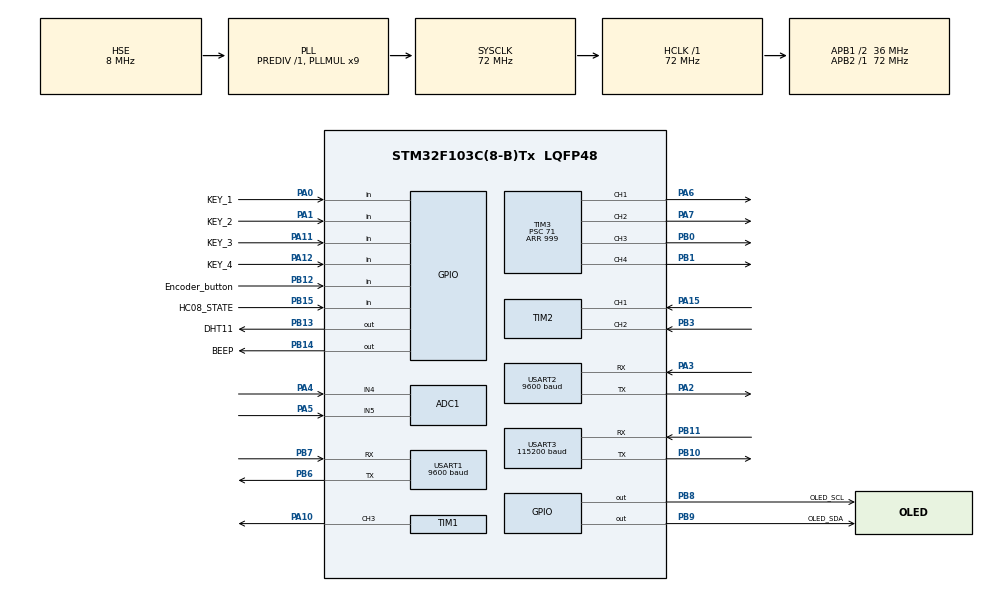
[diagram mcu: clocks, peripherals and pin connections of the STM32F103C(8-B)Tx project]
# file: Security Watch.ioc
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ADC1.Channel-0\#ChannelRegularConversion=ADC_CHANNEL_4
ADC1.EnableAnalogWatchDog=false
ADC1.NbrOfConversionFlag=1
ADC1.Rank-0\#ChannelRegularConversion=1
ADC1.SamplingTime-0\#ChannelRegularConversion=ADC_SAMPLETIME_1CYCLE_5
ADC1.master=1
Dma.Request0=TIM1_CH3
Dma.Request1=USART1_RX
Dma.Request2=USART3_RX
Dma.TIM1_CH3.0.Direction=DMA_MEMORY_TO_PERIPH
Dma.TIM1_CH3.0.Instance=DMA1_Channel6
Dma.TIM1_CH3.0.MemDataAlignment=DMA_MDATAALIGN_HALFWORD
Dma.TIM1_CH3.0.MemInc=DMA_MINC_ENABLE
Dma.TIM1_CH3.0.Mode=DMA_NORMAL
Dma.TIM1_CH3.0.PeriphDataAlignment=DMA_PDATAALIGN_HALFWORD
Dma.TIM1_CH3.0.PeriphInc=DMA_PINC_DISABLE
Dma.TIM1_CH3.0.Priority=DMA_PRIORITY_HIGH
Dma.USART1_RX.1.Direction=DMA_PERIPH_TO_MEMORY
Dma.USART1_RX.1.Instance=DMA1_Channel5
Dma.USART1_RX.1.MemDataAlignment=DMA_MDATAALIGN_BYTE
Dma.USART1_RX.1.MemInc=DMA_MINC_ENABLE
Dma.USART1_RX.1.Mode=DMA_CIRCULAR
Dma.USART1_RX.1.PeriphDataAlignment=DMA_PDATAALIGN_BYTE
Dma.USART1_RX.1.PeriphInc=DMA_PINC_DISABLE
Dma.USART1_RX.1.Priority=DMA_PRIORITY_MEDIUM
Dma.USART3_RX.2.Direction=DMA_PERIPH_TO_MEMORY
Dma.USART3_RX.2.Instance=DMA1_Channel3
Dma.USART3_RX.2.MemDataAlignment=DMA_MDATAALIGN_BYTE
Dma.USART3_RX.2.MemInc=DMA_MINC_ENABLE
Dma.USART3_RX.2.Mode=DMA_CIRCULAR
Dma.USART3_RX.2.PeriphDataAlignment=DMA_PDATAALIGN_BYTE
Dma.USART3_RX.2.PeriphInc=DMA_PINC_DISABLE
Dma.USART3_RX.2.Priority=DMA_PRIORITY_MEDIUM
FREERTOS.configTIMER_TASK_STACK_DEPTH=64
FREERTOS.configTOTAL_HEAP_SIZE=8192
Mcu.Family=STM32F1
Mcu.Name=STM32F103C(8-B)Tx
Mcu.Package=LQFP48
NVIC.DMA1_Channel3_IRQn=true\:5\:0\:false\:false\:true\:true\:false\:true\:true
NVIC.DMA1_Channel5_IRQn=true\:5\:0\:false\:false\:true\:true\:false\:true\:true
NVIC.DMA1_Channel6_IRQn=true\:5\:0\:false\:false\:true\:true\:false\:true\:true
NVIC.PriorityGroup=NVIC_PRIORITYGROUP_4
NVIC.USART1_IRQn=true\:5\:0\:false\:false\:true\:true\:false\:true\:true
NVIC.USART2_IRQn=true\:5\:0\:false\:false\:true\:true\:false\:true\:true
NVIC.USART3_IRQn=true\:5\:0\:false\:false\:true\:true\:false\:true\:true
PA0-WKUP.GPIO_Label=KEY_1
PA0-WKUP.GPIO_PuPd=GPIO_PULLUP
PA0-WKUP.Signal=GPIO_Input
PA1.GPIO_Label=KEY_2
PA1.GPIO_PuPd=GPIO_PULLUP
PA1.Signal=GPIO_Input
PA10.GPIO_Speed=GPIO_SPEED_FREQ_HIGH
PA10.Signal=S_TIM1_CH3
PA11.GPIO_Label=KEY_3
PA11.GPIO_PuPd=GPIO_PULLUP
PA11.Signal=GPIO_Input
PA12.GPIO_Label=KEY_4
PA12.GPIO_PuPd=GPIO_PULLUP
PA12.Signal=GPIO_Input
PA13.Mode=Serial_Wire
PA13.Signal=SYS_JTMS-SWDIO
PA14.Mode=Serial_Wire
PA14.Signal=SYS_JTCK-SWCLK
PA15.Signal=S_TIM2_CH1_ETR
PA2.Mode=Asynchronous
PA2.Signal=USART2_TX
PA3.Mode=Asynchronous
PA3.Signal=USART2_RX
PA4.Signal=ADCx_IN4
PA5.Signal=ADCx_IN5
PA6.Signal=S_TIM3_CH1
PA7.Signal=S_TIM3_CH2
PB0.Signal=S_TIM3_CH3
PB1.Signal=S_TIM3_CH4
PB10.Mode=Asynchronous
PB10.Signal=USART3_TX
PB11.Mode=Asynchronous
PB11.Signal=USART3_RX
PB12.GPIO_Label=Encoder_button
PB12.GPIO_PuPd=GPIO_PULLUP
PB12.Signal=GPIO_Input
PB13.GPIO_Label=DHT11
PB13.GPIO_ModeDefaultOutputPP=GPIO_MODE_OUTPUT_OD
PB13.GPIO_PuPd=GPIO_NOPULL
PB13.GPIO_Speed=GPIO_SPEED_FREQ_HIGH
PB13.PinState=GPIO_PIN_RESET
PB13.Signal=GPIO_Output
PB14.GPIO_Label=BEEP
PB14.GPIO_PuPd=GPIO_PULLUP
PB14.PinState=GPIO_PIN_SET
PB14.Signal=GPIO_Output
PB15.GPIO_Label=HC08_STATE
PB15.GPIO_PuPd=GPIO_PULLDOWN
PB15.Signal=GPIO_Input
PB3.Signal=S_TIM2_CH2
PB6.Mode=Asynchronous
PB6.Signal=USART1_TX
PB7.Mode=Asynchronous
PB7.Signal=USART1_RX
PB8.GPIO_Label=OLED_SCL
PB8.GPIO_ModeDefaultOutputPP=GPIO_MODE_OUTPUT_OD
PB8.GPIO_PuPd=GPIO_PULLUP
PB8.GPIO_Speed=GPIO_SPEED_FREQ_HIGH
PB8.PinState=GPIO_PIN_RESET
PB8.Signal=GPIO_Output
PB9.GPIO_Label=OLED_SDA
PB9.GPIO_ModeDefaultOutputPP=GPIO_MODE_OUTPUT_OD
PB9.GPIO_PuPd=GPIO_PULLUP
PB9.GPIO_Speed=GPIO_SPEED_FREQ_HIGH
PB9.PinState=GPIO_PIN_RESET
PB9.Signal=GPIO_Output
PC14-OSC32_IN.Mode=LSE-External-Oscillator
PC14-OSC32_IN.Signal=RCC_OSC32_IN
PC15-OSC32_OUT.Mode=LSE-External-Oscillator
PC15-OSC32_OUT.Signal=RCC_OSC32_OUT
PD0-OSC_IN.Mode=HSE-External-Oscillator
PD0-OSC_IN.Signal=RCC_OSC_IN
PD1-OSC_OUT.Mode=HSE-External-Oscillator
PD1-OSC_OUT.Signal=RCC_OSC_OUT
ProjectManager.HeapSize=0x0
ProjectManager.StackSize=0x400
ProjectManager.TargetToolchain=MDK-ARM V5.32
RCC.ADCPresc=RCC_ADCPCLK2_DIV6
RCC.AHBFreq_Value=72000000
RCC.APB1CLKDivider=RCC_HCLK_DIV2
RCC.APB1Freq_Value=36000000
RCC.APB1TimFreq_Value=72000000
RCC.APB2Freq_Value=72000000
RCC.APB2TimFreq_Value=72000000
RCC.HCLKFreq_Value=72000000
RCC.PLLMUL=RCC_PLL_MUL9
RCC.PLLSourceVirtual=RCC_PLLSOURCE_HSE
RCC.RTCClockSelection=RCC_RTCCLKSOURCE_LSE
RCC.SYSCLKFreq_VALUE=72000000
RCC.SYSCLKSource=RCC_SYSCLKSOURCE_PLLCLK
RCC.USBFreq_Value=72000000
SH.ADCx_IN4.0=ADC1_IN4,IN4
SH.ADCx_IN5.0=ADC1_IN5,IN5
SH.S_TIM1_CH3.0=TIM1_CH3,PWM Generation3 CH3
SH.S_TIM2_CH1_ETR.0=TIM2_CH1,Encoder_Interface
SH.S_TIM2_CH2.0=TIM2_CH2,Encoder_Interface
SH.S_TIM3_CH1.0=TIM3_CH1,PWM Generation1 CH1
SH.S_TIM3_CH2.0=TIM3_CH2,PWM Generation2 CH2
SH.S_TIM3_CH3.0=TIM3_CH3,PWM Generation3 CH3
SH.S_TIM3_CH4.0=TIM3_CH4,PWM Generation4 CH4
TIM1.AutoReloadPreload=TIM_AUTORELOAD_PRELOAD_ENABLE
TIM1.Channel-PWM\ Generation3\ CH3=TIM_CHANNEL_3
TIM1.Prescaler=89
TIM2.AutoReloadPreload=TIM_AUTORELOAD_PRELOAD_ENABLE
TIM2.IC1Filter=12
TIM3.AutoReloadPreload=TIM_AUTORELOAD_PRELOAD_ENABLE
TIM3.Channel-PWM\ Generation1\ CH1=TIM_CHANNEL_1
TIM3.Channel-PWM\ Generation2\ CH2=TIM_CHANNEL_2
TIM3.Channel-PWM\ Generation3\ CH3=TIM_CHANNEL_3
TIM3.Channel-PWM\ Generation4\ CH4=TIM_CHANNEL_4
TIM3.Period=999
TIM3.Prescaler=71
USART1.BaudRate=9600
USART1.VirtualMode=VM_ASYNC
USART2.BaudRate=9600
USART2.VirtualMode=VM_ASYNC
USART3.BaudRate=115200
USART3.VirtualMode=VM_ASYNC
VP_FREERTOS_VS_CMSIS_V2.Mode=CMSIS_V2
VP_RTC_VS_RTC_Activate.Mode=RTC_Enabled
VP_RTC_VS_RTC_Calendar.Mode=RTC_Calendar
board=custom

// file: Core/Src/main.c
/* USER CODE BEGIN Header */
/**
  ******************************************************************************
  * @file           : main.c
  * @brief          : Main program body
  ******************************************************************************
  * @attention
  *
  * Copyright (c) 2025 STMicroelectronics.
  * All rights reserved.
  *
  * This software is licensed under terms that can be found in the LICENSE file
  * in the root directory of this software component.
  * If no LICENSE file comes with this software, it is provided AS-IS.
  *
  ******************************************************************************
  */
/* USER CODE END Header */
#include "main.h"
#include "diy_imu.h"      /* USART3: DIY IMU(节点A) 数据链 */
#include "cmsis_os.h"
#include "adc.h"
#include "dma.h"
#include "rtc.h"
#include "tim.h"
#include "gpio.h"
#include "usart.h"

/* USER CODE BEGIN Includes */
#include "OLED.h"
#include "delay.h"
#include "gps.h"
#include "hc08.h"

/* USER CODE END Includes */

void SystemClock_Config(void);
void MX_FREERTOS_Init(void);

/* USER CODE BEGIN 0 */
RTC_DateTypeDef sDate;
RTC_TimeTypeDef sTime;
/* USER CODE END 0 */

int main(void)
{

  /* MCU Configuration--------------------------------------------------------*/

  /* Reset of all peripherals, Initializes the Flash interface and the Systick. */
  HAL_Init();

  /* Configure the system clock */
  SystemClock_Config();

  /* Initialize all configured peripherals */
  MX_GPIO_Init();
  MX_DMA_Init();
  MX_TIM2_Init();
  MX_RTC_Init();
  MX_TIM3_Init();
  MX_ADC1_Init();
  MX_TIM1_Init();
  MX_USART1_UART_Init();
  MX_USART2_UART_Init();
  MX_USART3_UART_Init();
  /* USER CODE BEGIN 2 */
	// 检查备份寄存器 DR1 的值是否为 0x32F2
	if (HAL_RTCEx_BKUPRead(&hrtc, RTC_BKP_DR1) != 0x32F2)
	{
	  // 1. 设置日期 (例如：2026年3月6日，星期五)
	  sDate.Year = 26;
	  sDate.Month = RTC_MONTH_MARCH;
	  sDate.Date = 6;
	  sDate.WeekDay = RTC_WEEKDAY_FRIDAY;
	  HAL_RTC_SetDate(&hrtc, &sDate, RTC_FORMAT_BIN);

	  // 2. 设置时间 (例如：14点30分00秒)
	  sTime.Hours = 14;
	  sTime.Minutes = 30;
	  sTime.Seconds = 0;
	  HAL_RTC_SetTime(&hrtc, &sTime, RTC_FORMAT_BIN);

	  // 3. 将 0x32F2 写入备份寄存器，下次重启就不会再重置时间了
	  HAL_RTCEx_BKUPWrite(&hrtc, RTC_BKP_DR1, 0x32F2);
	}
  /* USER CODE END 2 */

  /* Init scheduler */
  osKernelInitialize();  /* Call init function for freertos objects (in cmsis_os2.c) */
  MX_FREERTOS_Init();

  /* Start scheduler */
  osKernelStart();

  /* We should never get here as control is now taken by the scheduler */

  /* Infinite loop */
  while (1)
  {

  }
}

void SystemClock_Config(void)
{
  RCC_OscInitTypeDef RCC_OscInitStruct = {0};
  RCC_ClkInitTypeDef RCC_ClkInitStruct = {0};
  RCC_PeriphCLKInitTypeDef PeriphClkInit = {0};

  /** Initializes the RCC Oscillators according to the specified parameters
  * in the RCC_OscInitTypeDef structure.
  */
  RCC_OscInitStruct.OscillatorType = RCC_OSCILLATORTYPE_HSE|RCC_OSCILLATORTYPE_LSE;
  RCC_OscInitStruct.HSEState = RCC_HSE_ON;
  RCC_OscInitStruct.HSEPredivValue = RCC_HSE_PREDIV_DIV1;
  RCC_OscInitStruct.LSEState = RCC_LSE_ON;
  RCC_OscInitStruct.HSIState = RCC_HSI_ON;
  RCC_OscInitStruct.PLL.PLLState = RCC_PLL_ON;
  RCC_OscInitStruct.PLL.PLLSource = RCC_PLLSOURCE_HSE;
  RCC_OscInitStruct.PLL.PLLMUL = RCC_PLL_MUL9;
  if (HAL_RCC_OscConfig(&RCC_OscInitStruct) != HAL_OK)
  {
    Error_Handler();
  }

  /** Initializes the CPU, AHB and APB buses clocks
  */
  RCC_ClkInitStruct.ClockType = RCC_CLOCKTYPE_HCLK|RCC_CLOCKTYPE_SYSCLK
                              |RCC_CLOCKTYPE_PCLK1|RCC_CLOCKTYPE_PCLK2;
  RCC_ClkInitStruct.SYSCLKSource = RCC_SYSCLKSOURCE_PLLCLK;
  RCC_ClkInitStruct.AHBCLKDivider = RCC_SYSCLK_DIV1;
  RCC_ClkInitStruct.APB1CLKDivider = RCC_HCLK_DIV2;
  RCC_ClkInitStruct.APB2CLKDivider = RCC_HCLK_DIV1;

  if (HAL_RCC_ClockConfig(&RCC_ClkInitStruct, FLASH_LATENCY_2) != HAL_OK)
  {
    Error_Handler();
  }
  PeriphClkInit.PeriphClockSelection = RCC_PERIPHCLK_RTC|RCC_PERIPHCLK_ADC;
  PeriphClkInit.RTCClockSelection = RCC_RTCCLKSOURCE_LSE;
  PeriphClkInit.AdcClockSelection = RCC_ADCPCLK2_DIV6;
  if (HAL_RCCEx_PeriphCLKConfig(&PeriphClkInit) != HAL_OK)
  {
    Error_Handler();
  }
}

/* USER CODE BEGIN 4 */

/* 串口接收事件转发：GPS 驱动靠它拿到 NMEA 数据（其它串口会被驱动内部过滤掉） */
void HAL_UARTEx_RxEventCallback(UART_HandleTypeDef *huart, uint16_t Size)
{
  /* USART3: 节点A (DIY IMU 板) 的 32 字节数据帧 */
  if (huart->Instance == USART3)
  {
    DIY_IMU_RxEventCallback(huart, Size);
    return;
  }

  /* USART1: GNSS 的 NMEA 语句流 */
  /* USART2: HC-08 ����͸�����ֻ��·������� / ģ��� AT Ӧ�� */
  if (huart->Instance == USART2)
  {
    HC08_RxEventCallback(huart, Size);
    return;
  }

  /* USART1: GNSS �� NMEA ����� */
  GPS_RxEventCallback(huart, Size);
}

/* USER CODE END 4 */

void Error_Handler(void)
{
  __disable_irq();
  while (1)
  {
  }
}

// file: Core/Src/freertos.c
/* USER CODE BEGIN Header */
#include "OLED.h"
/**
  ******************************************************************************
  * File Name          : freertos.c
  * Description        : Code for freertos applications
  ******************************************************************************
  * 本文件只负责：
  *   1) 集中定义各任务的优先级与栈大小
  *   2) 在 MX_FREERTOS_Init() 里调用各任务的 xxx_Task_Init()
  *
  * 任务的具体实现与创建都在 icode\task\ 下，本文件不写任何任务逻辑。
  ******************************************************************************
  */
/* USER CODE END Header */

#include "FreeRTOS.h"
#include "task.h"
#include "main.h"
#include "cmsis_os.h"

/* USER CODE BEGIN Includes */
#include "imu_recv_task.h"
#include "tinyml_task.h"
#include "fatigue_task.h"
#include "alarm_task.h"
#include "ble_task.h"
#include "oled_task.h"
#include "gps_task.h"
#include "menu_task.h"
/* USER CODE END Includes */

/* USER CODE BEGIN PD */
/* ===========================================================================
 *                        任务优先级与栈大小（集中配置）
 *
 * 优先级取 osPriority_t 枚举，数值越大优先级越高：
 *   osPriorityLow=8   osPriorityBelowNormal=16  osPriorityNormal=24
 *   osPriorityAboveNormal=32   osPriorityHigh=40   osPriorityRealtime=48
 *
 * 当前分配理由：
 *   IMU_Recv  AboveNormal  数据先落地，优先级低了会丢帧
 *   Alarm     AboveNormal  取消按键必须响应及时，晚了就误报
 *   TinyML    Normal       推理耗时可控，单次目标 <20ms
 *   BLE       Normal       上报允许有几十毫秒延迟
 *   GPS       BelowNormal  1 Hz NMEA 流，20 ms 排空一次缓冲即可，不急
 *   Fatigue   BelowNormal  1~2Hz 低频任务，不急
 *   OLED      Low          软件I2C刷屏最慢，绝不能抢 CPU
 * ========================================================================= */
#define IMU_RECV_TASK_PRIO      osPriorityAboveNormal
#define ALARM_TASK_PRIO         osPriorityAboveNormal
#define TINYML_TASK_PRIO        osPriorityNormal
#define BLE_TASK_PRIO           osPriorityNormal
#define GPS_TASK_PRIO           osPriorityBelowNormal
#define FATIGUE_TASK_PRIO       osPriorityBelowNormal
#define OLED_TASK_PRIO          osPriorityLow

/* 栈深度，单位 word（1 word = 4 字节）
   实测经验：纯逻辑任务 256 word 够用；OLED 刷屏缓冲大，给 512 word。
   改大栈要同步调大 FreeRTOSConfig.h 的 configTOTAL_HEAP_SIZE。

   TINYML 给 384 word（1536 字节）而非 256，原因：TinyML 任务调用链里
   ML_ExtractFeatures 的两遍扫描局部变量 + 29 维特征数组(116B) + int8 输入
   输出缓冲，合计约 500 字节；256 word 虽勉强够，但余量太小，一旦以后加了
   队列接收或浮点打印就会溢出，而栈溢出在 FreeRTOS 上表现为莫名其妙的
   硬件错误，极难排查。多这 512 字节换确定性，值得。
   注意：窗口环形缓冲(2412B)是 file-static，不占任务栈。 */
#define IMU_RECV_TASK_STACK     128
#define TINYML_TASK_STACK       384
/* ★ 下面三个栈由 256 → 192 word，是【恢复 GPS 任务】腾堆用的（-768 B）：
   fatigue/alarm/ble 三个任务当前都不做重活（alarm 只跑 Key_Scan + 状态机，
   fatigue 与 ble 仍是桩），192 word = 768 B 余量充足。
   注意：这三项与 IMU 链路无关，IMU 的栈/驱动一行未改。 */
#define FATIGUE_TASK_STACK      192
#define ALARM_TASK_STACK        192
#define BLE_TASK_STACK          192
/* GPS 任务只做环形缓冲排空 + 少量整数解析，96 字节的语句缓冲是 file-static，
   不占任务栈，128 word（512 B）够用。 */
#define GPS_TASK_STACK          128
/* 菜单任务：只做翻页 + 汇总各子系统快照（双缓冲约 180 B 静态），
   全是整数运算与 memcpy，192 word（768 B）足够。
   优先级放在 OLED(Low) 之上、告警/BLE 之下，保证菜单状态比屏幕更新。 */
#define MENU_TASK_PRIO          osPriorityBelowNormal
#define MENU_TASK_STACK         192
/* OLED 显存缓冲是 OLED.c 里的 file-static 数组，不吃任务栈，
   刷屏本身不递归、不放大局部变量；GPS 接收页的语句原文与定位快照也放 file-static，
   128 word（512 B）经实测够用 */
#define OLED_TASK_STACK         128
/* ---------------------------------------------------------------------------
 * ⚠️ 下面三个栈大小是被【RAM 硬约束】压下来的，不是随手写的数
 * ---------------------------------------------------------------------------
 * 实测 (armlink map)：
 *   RAM 总量 20480 B，启动栈预留 1024 B → 可用 19456 B。
 *   未加 DIY IMU 模块前已用约 19400 B，几乎顶满。
 *   加入 diy_imu 驱动后总量 20312 B，超出 856 B。
 *
 * FreeRTOS 堆 10240 B 不能再砍：9 个任务(7 应用 + IDLE + Tmr Svc)的
 *   栈+TCB 已用 9712 B，仅余 528 B。再砍会静默创建任务失败，
 *   而 configASSERT 是关中断死循环，屏幕上不会有任何提示。
 *
 * 所以只能从任务栈里省，三项合计 856 B：
 *   IMU_Recv  256 -> 128 word   该任务只做「取帧 + 12 字节拷贝 + 计数」，
 *                               调用链浅且不递归，128 word 有余量
 *   OLED      256 -> 128 word   刷屏不递归；显存与帧/快照缓冲都在 file-static
 *                               或本文件栈上，128 word 经实测够用
 *   Tmr Svc   128 ->  64 word   在 FreeRTOSConfig.h，本工程无任何软件定时器
 *
 * 改动依据与复现方式见 docs/DIY_IMU接入说明.md。
 * 若将来再往上加任务或缓冲，务必先重算这份账，别直接调大。
 * ------------------------------------------------------------------------- */
/* USER CODE END PD */

void MX_FREERTOS_Init(void); /* (MISRA C 2004 rule 8.1) */

void MX_FREERTOS_Init(void) {
  /* USER CODE BEGIN Init */
  OLED_Init();
  OLED_ShowString(1, 1, "OS Loading...", OLED_6X8);
  OLED_Update();
  /* USER CODE END Init */

  /* Create the thread(s) */
  /* 说明：CubeMX 默认生成的 defaultTask（只做 osDelay(1000) 空转）已删除，
     省下 512 B 任务栈 + 约 90 B TCB —— configTOTAL_HEAP_SIZE 只有 12288 B，
     而 7 个应用任务 + 空闲/定时器任务已经占掉约 11 KB，这 600 B 很关键。 */

  /* USER CODE BEGIN RTOS_THREADS */
  IMU_Recv_Task_Init(IMU_RECV_TASK_PRIO, IMU_RECV_TASK_STACK);
  TinyML_Task_Init(TINYML_TASK_PRIO, TINYML_TASK_STACK);
  Fatigue_Task_Init(FATIGUE_TASK_PRIO, FATIGUE_TASK_STACK);
  Alarm_Task_Init(ALARM_TASK_PRIO, ALARM_TASK_STACK);
  BLE_Task_Init(BLE_TASK_PRIO, BLE_TASK_STACK);
  /* ---------------------------------------------------------------------
   * ★ GPS 任务已恢复创建（2026-10-13）
   * ---------------------------------------------------------------------
   * 背景：本板三路串口分工已定 —— USART1=GPS、USART2=HC-08、USART3=DIY IMU，
   *       三个外设都要用，所以 GPS 任务必须真的跑起来（此前为腾 RAM 被注释掉）。
   *
   * 腾堆方式（**完全没有动 IMU 那一侧**：imu_recv_task.c / diy_imu.c / USART3
   * 的配置与栈大小一行未改）：
   *     FATIGUE_TASK_STACK  256 -> 192 word   -256 B
   *     ALARM_TASK_STACK    256 -> 192 word   -256 B
   *     BLE_TASK_STACK      256 -> 192 word   -256 B
   *     configTIMER_QUEUE_LENGTH 10 -> 4      -96 B（本工程无任何软件定时器）
   *   合计腾出约 864 B；GPS 任务本身只要 512 B 栈 + 约 100 B TCB（约 612 B），
   *   所以恢复后堆占用比恢复前还低约 250 B。
   *
   * ⚠ 另外说明一处历史记账：注释里曾写"9 个任务已占 9712 B"。按本工程配置，
   *   空闲任务与定时器任务的栈/TCB 是 cmsis_os2.c 里的【静态数组】
   *   （从 armlink map 可验证），**不占 FreeRTOS 堆**；堆里只有 7 个应用任务的
   *   栈(6144 B) + 7 个 TCB(约 700 B) + 定时器队列(约 250 B) ≈ 7.1 KB。
   *   真实余量以开机时 OLED 上的 FreeHeap 数字为准（那一行就是为此加的）。
   * --------------------------------------------------------------------- */
  GPS_Task_Init(GPS_TASK_PRIO, GPS_TASK_STACK);
  /* 菜单/状态总览任务：上/下键翻页，汇总三条链路 + 系统状态供 OLED 显示。
     必须在 OLED 之前创建——OLED 首帧就会去读菜单视图。 */
  Menu_Task_Init(MENU_TASK_PRIO, MENU_TASK_STACK);
  OLED_Task_Init(OLED_TASK_PRIO, OLED_TASK_STACK);

  /* 堆余量自检：任务栈全部从 configTOTAL_HEAP_SIZE 动态分配。
     若某个任务"创建了却从不运行"，先看这个数字——接近 0 就是堆不够。
     注意：xTaskCreate 失败只返回 pdFAIL，而当前 configASSERT 是关中断死循环，
     屏幕上不会给出任何提示，所以这个数字是排查堆问题的第一手依据。 */
  OLED_ShowString(0, 16, "FreeHeap:", OLED_6X8);
  OLED_ShowNum(54, 16, (uint32_t)xPortGetFreeHeapSize(), 5, OLED_6X8);
  OLED_Update();
  /* USER CODE END RTOS_THREADS */

}

/* USER CODE BEGIN Application */
/* 任务实现已移至 MDK-ARM/icode/task 各模块。
   CubeMX 原先自动生成的 StartDefaultTask 已删除（空转任务，纯粹浪费 512 B 栈）。 */
/* USER CODE END Application */
